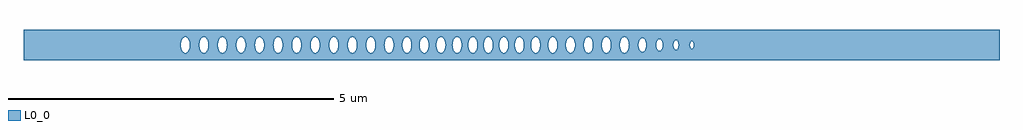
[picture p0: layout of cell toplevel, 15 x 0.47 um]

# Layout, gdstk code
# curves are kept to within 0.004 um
import gdstk
lib = gdstk.Library(unit=1e-6, precision=1e-09)
def P(c, l, *ps):  # polygons
    for p in ps: c.add(gdstk.Polygon(p, *l))
L0_0 = (0, 0)

toplevel = lib.new_cell('toplevel')
P(toplevel, L0_0, [(-4.494,-0.235),(-4.494,-0.085),(-4.507,-0.053),(-4.513,-0.016),(-4.51,0.038),(-4.494,0.085),(-4.494,0.235),(-7.5,0.235),(-7.5,-0.008),(-5.084,-0.008),(-5.081,0.038),(-5.071,0.073),(-5.044,0.112),(-5.018,0.124),(-4.992,0.118),(-4.962,0.085),(-4.948,0.046),(-4.943,-0.008),(-4.799,-0.008),(-4.794,0.046),(-4.783,0.079),(-4.762,0.109),(-4.733,0.124),(-4.706,0.118),(-4.683,0.096),(-4.666,0.06),(-4.658,0.016),(-4.661,-0.038),(-4.671,-0.073),(-4.694,-0.109),(-4.724,-0.124),(-4.75,-0.118),(-4.773,-0.096),(-4.79,-0.06),(-4.799,-0.008),(-4.943,-0.008),(-4.948,-0.046),(-4.962,-0.085),(-4.98,-0.109),(-5.009,-0.124),(-5.035,-0.118),(-5.062,-0.09),(-5.079,-0.046),(-5.084,-0.008),(-7.5,-0.008),(-7.5,-0.235)],
  [(-3.942,0.016),(-3.934,0.06),(-3.914,0.1),(-3.886,0.122),(-3.859,0.122),(-3.859,0.235),(-4.494,0.235),(-4.494,0.085),(-4.477,0.109),(-4.456,0.122),(-4.43,0.122),(-4.409,0.109),(-4.381,0.06),(-4.373,-0.016),(-4.228,-0.016),(-4.225,0.038),(-4.215,0.073),(-4.192,0.109),(-4.162,0.124),(-4.136,0.118),(-4.109,0.09),(-4.092,0.046),(-4.087,0.008),(-4.089,-0.031),(-4.103,-0.079),(-4.12,-0.105),(-4.144,-0.122),(-4.171,-0.122),(-4.203,-0.096),(-4.215,-0.073),(-4.228,-0.016),(-4.373,-0.016),(-4.377,-0.046),(-4.392,-0.085),(-4.409,-0.109),(-4.43,-0.122),(-4.465,-0.118),(-4.494,-0.085),(-4.494,-0.235),(-3.859,-0.235),(-3.859,-0.122),(-3.877,-0.124),(-3.894,-0.118),(-3.921,-0.09),(-3.941,-0.031)],
  [(-3.37,0.031),(-3.364,0.06),(-3.347,0.096),(-3.324,0.118),(-3.306,0.124),(-3.284,0.12),(-3.264,0.105),(-3.247,0.079),(-3.236,0.046),(-3.236,0.235),(-3.859,0.235),(-3.859,0.122),(-3.838,0.109),(-3.815,0.073),(-3.802,0),(-3.658,0),(-3.653,0.046),(-3.638,0.085),(-3.621,0.109),(-3.591,0.124),(-3.565,0.118),(-3.542,0.096),(-3.525,0.06),(-3.517,0.016),(-3.52,-0.038),(-3.53,-0.073),(-3.553,-0.109),(-3.583,-0.124),(-3.609,-0.118),(-3.632,-0.096),(-3.653,-0.046),(-3.658,0),(-3.802,0),(-3.815,-0.073),(-3.838,-0.109),(-3.859,-0.122),(-3.859,-0.235),(-3.236,-0.235),(-3.236,-0.046),(-3.25,-0.085),(-3.268,-0.109),(-3.297,-0.124),(-3.324,-0.118),(-3.347,-0.096),(-3.364,-0.06),(-3.372,-0.016)],
  [(-3.233,-0.023),(-3.236,-0.235),(-2.513,-0.235),(-2.513,0.235),(-3.236,0.235),(-3.231,-0.008),(-3.087,-0.008),(-3.085,0.031),(-3.071,0.079),(-3.05,0.109),(-3.021,0.124),(-2.986,0.112),(-2.965,0.085),(-2.949,0.038),(-2.946,-0.008),(-2.802,-0.008),(-2.797,0.046),(-2.776,0.096),(-2.744,0.122),(-2.709,0.118),(-2.686,0.096),(-2.669,0.06),(-2.661,-0.016),(-2.667,-0.053),(-2.68,-0.085),(-2.697,-0.109),(-2.718,-0.122),(-2.749,-0.12),(-2.776,-0.096),(-2.793,-0.06),(-2.802,-0.008),(-2.946,-0.008),(-2.949,-0.038),(-2.965,-0.085),(-2.986,-0.112),(-3.012,-0.124),(-3.038,-0.118),(-3.065,-0.09),(-3.082,-0.046),(-3.087,-0.008),(-3.231,-0.008)],
  [(-1.951,0.016),(-1.938,0.073),(-1.919,0.105),(-1.899,0.12),(-1.899,0.235),(-2.513,0.235),(-2.513,0.038),(-2.503,0.073),(-2.484,0.105),(-2.459,0.122),(-2.441,0.124),(-2.412,0.109),(-2.389,0.073),(-2.38,0.046),(-2.376,-0.016),(-2.232,-0.016),(-2.229,0.038),(-2.213,0.085),(-2.188,0.115),(-2.157,0.124),(-2.128,0.109),(-2.11,0.085),(-2.096,0.046),(-2.091,0.008),(-2.093,-0.031),(-2.107,-0.079),(-2.128,-0.109),(-2.157,-0.124),(-2.183,-0.118),(-2.207,-0.096),(-2.219,-0.073),(-2.232,-0.016),(-2.376,-0.016),(-2.384,-0.06),(-2.401,-0.096),(-2.424,-0.118),(-2.441,-0.124),(-2.459,-0.122),(-2.484,-0.105),(-2.503,-0.073),(-2.513,-0.039),(-2.513,-0.235),(-1.899,-0.235),(-1.899,-0.12),(-1.923,-0.1),(-1.941,-0.066)],
  [(-1.886,0.124),(-1.859,0.118),(-1.836,0.096),(-1.817,0.053),(-1.811,-0.008),(-1.678,-0.008),(-1.673,0.046),(-1.652,0.096),(-1.625,0.12),(-1.594,0.122),(-1.569,0.105),(-1.55,0.073),(-1.54,0.038),(-1.537,-0.016),(-1.545,-0.06),(-1.562,-0.096),(-1.585,-0.118),(-1.612,-0.124),(-1.641,-0.109),(-1.659,-0.085),(-1.673,-0.046),(-1.678,-0.008),(-1.811,-0.008),(-1.819,-0.06),(-1.843,-0.105),(-1.868,-0.122),(-1.899,-0.12),(-1.899,-0.235),(-1.293,-0.235),(-1.293,-0.09),(-1.328,-0.122),(-1.355,-0.122),(-1.372,-0.112),(-1.399,-0.073),(-1.412,-0.008),(-1.409,0.038),(-1.399,0.073),(-1.372,0.112),(-1.355,0.122),(-1.328,0.122),(-1.293,0.09),(-1.293,0.235),(-1.899,0.235),(-1.899,0.12)],
  [(-1.293,0.235),(-1.293,0.09),(-1.273,0.031),(-1.272,-0.016),(-1.155,-0.016),(-1.152,0.038),(-1.142,0.073),(-1.119,0.109),(-1.089,0.124),(-1.063,0.118),(-1.036,0.09),(-1.019,0.046),(-1.014,0),(-0.907,0),(-0.902,0.046),(-0.887,0.085),(-0.87,0.109),(-0.841,0.124),(-0.814,0.118),(-0.791,0.096),(-0.774,0.06),(-0.766,0.016),(-0.769,-0.038),(-0.779,-0.073),(-0.802,-0.109),(-0.832,-0.124),(-0.858,-0.118),(-0.881,-0.096),(-0.902,-0.046),(-0.907,0),(-1.014,0),(-1.019,-0.046),(-1.033,-0.085),(-1.051,-0.109),(-1.08,-0.124),(-1.106,-0.118),(-1.13,-0.096),(-1.142,-0.073),(-1.155,-0.016),(-1.272,-0.016),(-1.276,-0.046),(-1.293,-0.09),(-1.293,-0.235),(-0.665,-0.235),(-0.665,0.235)],
  [(-0.187,0.031),(-0.164,0.096),(-0.164,0.235),(-0.665,0.235),(-0.665,0),(-0.66,0.046),(-0.645,0.085),(-0.628,0.109),(-0.599,0.124),(-0.572,0.118),(-0.543,0.085),(-0.527,0.038),(-0.524,-0.016),(-0.426,-0.016),(-0.423,0.038),(-0.413,0.073),(-0.39,0.109),(-0.36,0.124),(-0.334,0.118),(-0.304,0.085),(-0.29,0.046),(-0.285,0),(-0.29,-0.046),(-0.304,-0.085),(-0.322,-0.109),(-0.351,-0.124),(-0.378,-0.118),(-0.401,-0.096),(-0.418,-0.06),(-0.426,-0.016),(-0.524,-0.016),(-0.532,-0.06),(-0.556,-0.105),(-0.581,-0.122),(-0.607,-0.122),(-0.632,-0.105),(-0.651,-0.073),(-0.665,0),(-0.665,-0.235),(-0.164,-0.235),(-0.164,-0.096),(-0.186,-0.038)],
  [(-0.156,0.105),(-0.123,0.124),(-0.105,0.122),(-0.081,0.105),(-0.057,0.06),(-0.048,-0.008),(0.051,-0.008),(0.056,0.046),(0.073,0.09),(0.1,0.118),(0.117,0.124),(0.135,0.122),(0.156,0.109),(0.179,0.073),(0.189,0.038),(0.192,-0.008),(0.189,-0.038),(0.173,-0.085),(0.156,-0.109),(0.126,-0.124),(0.1,-0.118),(0.073,-0.09),(0.056,-0.046),(0.051,-0.008),(-0.048,-0.008),(-0.059,-0.066),(-0.085,-0.109),(-0.105,-0.122),(-0.123,-0.124),(-0.145,-0.115),(-0.164,-0.096),(-0.164,-0.235),(0.409,-0.235),(0.409,-0.105),(0.376,-0.124),(0.358,-0.122),(0.337,-0.109),(0.314,-0.073),(0.301,-0.016),(0.31,0.06),(0.337,0.109),(0.358,0.122),(0.376,0.124),(0.409,0.105),(0.409,0.235),(-0.164,0.235),(-0.164,0.096)],
  [(0.837,0.016),(0.841,0.046),(0.858,0.09),(0.876,0.112),(0.902,0.124),(0.928,0.118),(0.951,0.096),(0.966,0.066),(0.976,0.023),(0.976,0.235),(0.409,0.235),(0.409,0.105),(0.426,0.079),(0.437,0.046),(0.441,-0.016),(0.564,-0.016),(0.567,0.038),(0.577,0.073),(0.6,0.109),(0.63,0.124),(0.656,0.118),(0.679,0.096),(0.7,0.046),(0.705,0),(0.7,-0.046),(0.685,-0.085),(0.668,-0.109),(0.639,-0.124),(0.612,-0.118),(0.589,-0.096),(0.572,-0.06),(0.564,-0.016),(0.441,-0.016),(0.431,-0.066),(0.409,-0.105),(0.409,-0.235),(0.976,-0.235),(0.976,-0.026),(0.961,-0.079),(0.944,-0.105),(0.92,-0.122),(0.893,-0.122),(0.869,-0.105),(0.849,-0.073),(0.838,-0.031)],
  [(0.976,-0.235),(1.673,-0.235),(1.673,-0.06),(1.665,-0.016),(1.673,0.059),(1.673,0.235),(0.976,0.235),(0.977,-0.008),(1.111,-0.008),(1.116,0.046),(1.127,0.079),(1.148,0.109),(1.177,0.124),(1.204,0.118),(1.233,0.085),(1.249,0.038),(1.252,-0.016),(1.387,-0.016),(1.39,0.038),(1.4,0.073),(1.423,0.109),(1.453,0.124),(1.479,0.118),(1.502,0.096),(1.523,0.046),(1.528,0),(1.523,-0.046),(1.508,-0.085),(1.491,-0.109),(1.461,-0.124),(1.435,-0.118),(1.412,-0.096),(1.395,-0.06),(1.387,-0.016),(1.252,-0.016),(1.244,-0.06),(1.227,-0.096),(1.204,-0.118),(1.177,-0.124),(1.148,-0.109),(1.13,-0.085),(1.116,-0.046),(1.111,-0.008),(0.977,-0.008)],
  [(2.225,0.012),(2.232,0.049),(2.248,0.078),(2.272,0.092),(2.291,0.088),(2.291,0.235),(1.673,0.235),(1.673,0.06),(1.701,0.109),(1.722,0.122),(1.74,0.124),(1.769,0.109),(1.787,0.085),(1.801,0.046),(1.805,-0.007),(1.95,-0.007),(1.953,0.033),(1.969,0.079),(1.992,0.103),(2.015,0.108),(2.037,0.098),(2.055,0.074),(2.071,0.014),(2.06,-0.064),(2.037,-0.098),(2.015,-0.108),(1.992,-0.103),(1.969,-0.079),(1.956,-0.046),(1.95,-0.007),(1.805,-0.007),(1.801,-0.046),(1.787,-0.085),(1.769,-0.109),(1.74,-0.124),(1.722,-0.122),(1.701,-0.109),(1.673,-0.06),(1.673,-0.235),(2.291,-0.235),(2.291,-0.088),(2.259,-0.088),(2.24,-0.067),(2.228,-0.034)],
  [(2.324,-0.023),(2.31,-0.067),(2.291,-0.088),(2.291,-0.235),(7.5,-0.235),(7.5,0.235),(2.291,0.235),(2.291,0.088),(2.318,0.049),(2.325,-0.01),(2.487,-0.01),(2.496,0.048),(2.51,0.069),(2.525,0.076),(2.538,0.074),(2.554,0.059),(2.566,0.028),(2.568,-0.008),(2.742,-0.008),(2.749,0.038),(2.769,0.06),(2.791,0.049),(2.804,0.008),(2.797,-0.038),(2.777,-0.06),(2.756,-0.051),(2.742,-0.008),(2.568,-0.008),(2.554,-0.059),(2.53,-0.076),(2.513,-0.071),(2.502,-0.059),(2.487,-0.01),(2.325,-0.01)])

lib.write_gds('toplevel.gds')
